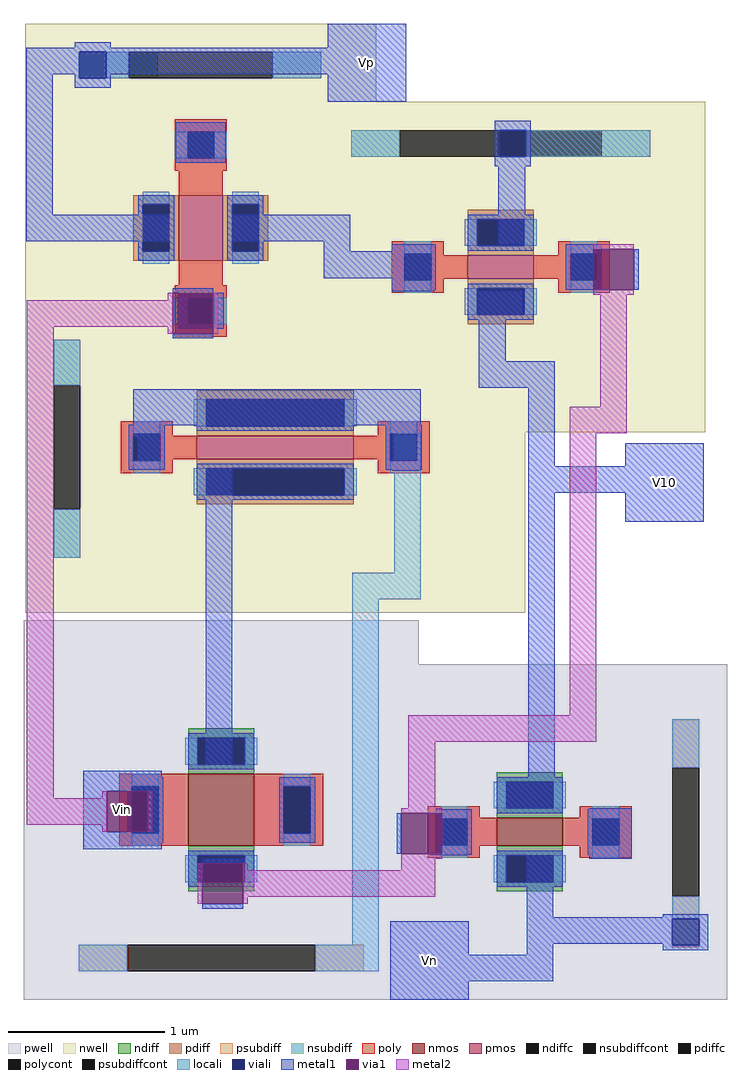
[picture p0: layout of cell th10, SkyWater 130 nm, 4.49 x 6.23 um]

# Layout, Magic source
magic
tech sky130A
magscale 1 2
<< psubdiff >>
rect 1098 -727 1132 -673
<< nsubdiff >>
rect 367 382 441 416
rect 875 282 1047 316
<< locali >>
rect 375 382 404 416
rect 911 282 1070 316
rect 743 -249 777 -71
rect 689 -283 777 -249
rect 689 -724 723 -283
rect 669 -758 723 -724
rect 1098 -691 1132 -665
<< viali >>
rect 341 382 375 416
rect 877 282 911 316
rect 1098 -725 1132 -691
<< metal1 >>
rect 335 421 381 428
rect 658 421 758 452
rect 273 416 758 421
rect 273 387 341 416
rect 273 208 307 387
rect 335 382 341 387
rect 375 387 758 416
rect 375 382 381 387
rect 335 370 381 382
rect 658 352 758 387
rect 464 274 528 326
rect 871 316 917 328
rect 871 282 877 316
rect 911 282 917 316
rect 871 270 917 282
rect 273 174 457 208
rect 536 174 687 208
rect 653 161 687 174
rect 876 170 910 270
rect 740 161 794 170
rect 991 162 997 164
rect 653 127 794 161
rect 460 108 512 114
rect 740 110 794 127
rect 966 120 997 162
rect 991 112 997 120
rect 1049 112 1055 164
rect 460 50 512 56
rect 851 77 907 111
rect 851 21 885 77
rect 851 -13 948 21
rect 410 -61 777 -15
rect 410 -76 449 -61
rect 415 -115 449 -76
rect 741 -107 777 -61
rect 502 -495 536 -116
rect 741 -119 775 -107
rect 914 -113 948 -13
rect 1038 -113 1138 -84
rect 914 -147 1138 -113
rect 346 -528 446 -502
rect 914 -515 948 -147
rect 1038 -184 1138 -147
rect 346 -580 376 -528
rect 428 -580 446 -528
rect 885 -549 948 -515
rect 914 -550 948 -549
rect 346 -602 446 -580
rect 746 -608 752 -556
rect 804 -560 810 -556
rect 804 -608 836 -560
rect 788 -610 836 -608
rect 498 -620 550 -614
rect 498 -678 550 -672
rect 912 -689 946 -610
rect 992 -614 1046 -550
rect 1086 -689 1144 -685
rect 912 -691 1144 -689
rect 738 -737 838 -694
rect 912 -723 1098 -691
rect 912 -737 946 -723
rect 1086 -725 1098 -723
rect 1132 -725 1144 -691
rect 1086 -731 1144 -725
rect 738 -771 946 -737
rect 738 -794 838 -771
<< via1 >>
rect 997 112 1049 164
rect 460 56 512 108
rect 376 -580 428 -528
rect 752 -608 804 -556
rect 498 -672 550 -620
<< metal2 >>
rect 997 164 1049 170
rect 454 99 460 108
rect 274 65 460 99
rect 274 -537 308 65
rect 454 56 460 65
rect 512 56 518 108
rect 997 106 1049 112
rect 1006 -37 1040 106
rect 967 -71 1040 -37
rect 967 -431 1001 -71
rect 761 -465 1001 -431
rect 370 -537 376 -528
rect 274 -571 376 -537
rect 370 -580 376 -571
rect 428 -580 434 -528
rect 761 -550 795 -465
rect 752 -556 804 -550
rect 752 -614 804 -608
rect 492 -672 498 -620
rect 550 -629 556 -620
rect 752 -629 795 -614
rect 550 -663 795 -629
rect 550 -672 556 -663
use sky130_fd_pr__pfet_01v8_XGS3BL  XM0
transform 0 -1 591 1 0 -89
box -211 -319 211 319
use sky130_fd_pr__nfet_01v8_4L9AWD  XM1
transform 0 -1 522 1 0 -552
box -242 -252 242 252
use sky130_fd_pr__pfet_01v8_EZD9Q7  XM2
transform 1 0 496 0 1 191
box -224 -261 224 261
use sky130_fd_pr__pfet_01v8_M479BZ  XM3
transform 0 -1 879 1 0 141
box -211 -261 211 261
use sky130_fd_pr__nfet_01v8_4BNSKG  XM4
transform 0 -1 916 1 0 -580
box -214 -252 214 252
<< labels >>
flabel metal1 1038 -184 1138 -84 0 FreeSans 256 0 0 0 V10
port 1 nsew
flabel metal1 738 -794 838 -694 0 FreeSans 256 0 0 0 Vn
port 3 nsew
flabel metal1 346 -602 446 -502 0 FreeSans 256 0 0 0 Vin
port 2 nsew
flabel metal1 658 352 758 452 0 FreeSans 256 0 0 0 Vp
port 0 nsew
<< end >>

# cell sky130_fd_pr__pfet_01v8_XGS3BL: kit device sky130_fd_pr__pfet_01v8, w 1.0 l 0.15 m 1 nf 1 diffcov 100 polycov 100 guard 1 glc 1 grc 1 gtc 1 gbc 1 tbcov 100 rlcov 100 topc 1 botc 1 poverlap 0 doverlap 1 lmin 0.15 wmin 0.42 compatible {sky130_fd_pr__pfet_01v8 sky130_fd_pr__pfet_01v8_lvt sky130_fd_pr__pfet_01v8_hvt sky130_fd_pr__pfet_g5v0d10v5} full_metal 1 viasrc 100 viadrn 100 viagate 100 viagb 0 viagr 0 viagl 0 viagt 0

# cell sky130_fd_pr__nfet_01v8_4L9AWD: kit device sky130_fd_pr__nfet_01v8, w 0.42 l 0.46 m 1 nf 1 diffcov 100 polycov 100 guard 1 glc 1 grc 1 gtc 1 gbc 1 tbcov 100 rlcov 100 topc 1 botc 1 poverlap 0 doverlap 1 lmin 0.15 wmin 0.42 compatible {sky130_fd_pr__nfet_01v8 sky130_fd_pr__nfet_01v8_lvt sky130_fd_bs_flash__special_sonosfet_star sky130_fd_pr__nfet_g5v0d10v5 sky130_fd_pr__nfet_05v0_nvt sky130_fd_pr__nfet_03v3_nvt} full_metal 1 viasrc 100 viadrn 100 viagate 100 viagb 0 viagr 0 viagl 0 viagt 0

# cell sky130_fd_pr__pfet_01v8_EZD9Q7: kit device sky130_fd_pr__pfet_01v8, w 0.42 l 0.28 m 1 nf 1 diffcov 100 polycov 100 guard 1 glc 1 grc 1 gtc 1 gbc 1 tbcov 100 rlcov 100 topc 1 botc 1 poverlap 0 doverlap 1 lmin 0.15 wmin 0.42 compatible {sky130_fd_pr__pfet_01v8 sky130_fd_pr__pfet_01v8_lvt sky130_fd_pr__pfet_01v8_hvt sky130_fd_pr__pfet_g5v0d10v5} full_metal 1 viasrc 100 viadrn 100 viagate 100 viagb 0 viagr 0 viagl 0 viagt 0

# cell sky130_fd_pr__pfet_01v8_M479BZ: kit device sky130_fd_pr__pfet_01v8, w 0.42 l 0.15 m 1 nf 1 diffcov 100 polycov 100 guard 1 glc 1 grc 1 gtc 1 gbc 1 tbcov 100 rlcov 100 topc 1 botc 1 poverlap 0 doverlap 1 lmin 0.15 wmin 0.42 compatible {sky130_fd_pr__pfet_01v8 sky130_fd_pr__pfet_01v8_lvt sky130_fd_pr__pfet_01v8_hvt sky130_fd_pr__pfet_g5v0d10v5} full_metal 1 viasrc 100 viadrn 100 viagate 100 viagb 0 viagr 0 viagl 0 viagt 0

# cell sky130_fd_pr__nfet_01v8_4BNSKG: kit device sky130_fd_pr__nfet_01v8, w 0.42 l 0.18 m 1 nf 1 diffcov 100 polycov 100 guard 1 glc 1 grc 1 gtc 1 gbc 1 tbcov 100 rlcov 100 topc 1 botc 1 poverlap 0 doverlap 1 lmin 0.15 wmin 0.42 compatible {sky130_fd_pr__nfet_01v8 sky130_fd_pr__nfet_01v8_lvt sky130_fd_bs_flash__special_sonosfet_star sky130_fd_pr__nfet_g5v0d10v5 sky130_fd_pr__nfet_05v0_nvt sky130_fd_pr__nfet_03v3_nvt} full_metal 1 viasrc 100 viadrn 100 viagate 100 viagb 0 viagr 0 viagl 0 viagt 0
